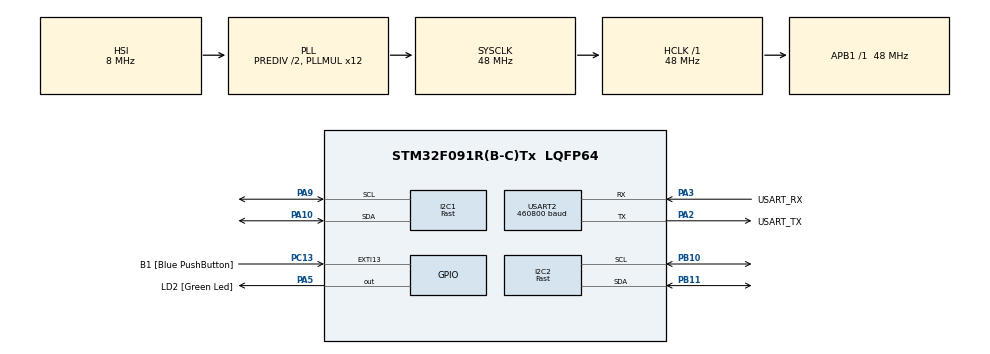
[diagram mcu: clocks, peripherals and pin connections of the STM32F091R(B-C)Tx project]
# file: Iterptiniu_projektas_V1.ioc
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Dma.I2C1_RX.1.Direction=DMA_PERIPH_TO_MEMORY
Dma.I2C1_RX.1.Instance=DMA1_Channel3
Dma.I2C1_RX.1.MemDataAlignment=DMA_MDATAALIGN_BYTE
Dma.I2C1_RX.1.MemInc=DMA_MINC_ENABLE
Dma.I2C1_RX.1.Mode=DMA_NORMAL
Dma.I2C1_RX.1.PeriphDataAlignment=DMA_PDATAALIGN_BYTE
Dma.I2C1_RX.1.PeriphInc=DMA_PINC_DISABLE
Dma.I2C1_RX.1.Priority=DMA_PRIORITY_LOW
Dma.I2C2_RX.0.Direction=DMA_PERIPH_TO_MEMORY
Dma.I2C2_RX.0.Instance=DMA1_Channel5
Dma.I2C2_RX.0.MemDataAlignment=DMA_MDATAALIGN_BYTE
Dma.I2C2_RX.0.MemInc=DMA_MINC_ENABLE
Dma.I2C2_RX.0.Mode=DMA_NORMAL
Dma.I2C2_RX.0.PeriphDataAlignment=DMA_PDATAALIGN_BYTE
Dma.I2C2_RX.0.PeriphInc=DMA_PINC_DISABLE
Dma.I2C2_RX.0.Priority=DMA_PRIORITY_LOW
Dma.Request0=I2C2_RX
Dma.Request1=I2C1_RX
Dma.Request2=USART2_TX
Dma.USART2_TX.2.Direction=DMA_MEMORY_TO_PERIPH
Dma.USART2_TX.2.Instance=DMA1_Channel2
Dma.USART2_TX.2.MemDataAlignment=DMA_MDATAALIGN_BYTE
Dma.USART2_TX.2.MemInc=DMA_MINC_ENABLE
Dma.USART2_TX.2.Mode=DMA_NORMAL
Dma.USART2_TX.2.PeriphDataAlignment=DMA_PDATAALIGN_BYTE
Dma.USART2_TX.2.PeriphInc=DMA_PINC_DISABLE
Dma.USART2_TX.2.Priority=DMA_PRIORITY_LOW
I2C1.I2C_Speed_Mode=I2C_Fast
I2C1.Timing=0x0010020A
I2C2.I2C_Speed_Mode=I2C_Fast
I2C2.Timing=0x2010091A
Mcu.Family=STM32F0
Mcu.Name=STM32F091R(B-C)Tx
Mcu.Package=LQFP64
NVIC.DMA1_Ch2_3_DMA2_Ch1_2_IRQn=true\:0\:0\:false\:false\:true\:false\:true\:true
NVIC.DMA1_Ch4_7_DMA2_Ch3_5_IRQn=true\:0\:0\:false\:false\:true\:false\:true\:true
NVIC.EXTI4_15_IRQn=true\:0\:0\:false\:false\:true\:true\:true\:true
NVIC.I2C1_IRQn=true\:0\:0\:false\:false\:true\:true\:true\:true
NVIC.I2C2_IRQn=true\:0\:0\:false\:false\:true\:true\:true\:true
NVIC.TIM6_DAC_IRQn=true\:0\:0\:false\:false\:true\:true\:true\:true
NVIC.USART2_IRQn=true\:0\:0\:false\:false\:true\:true\:true\:true
PA10.Mode=I2C
PA10.Signal=I2C1_SDA
PA13.GPIO_Label=TMS
PA13.Mode=Serial_Wire
PA13.Signal=SYS_SWDIO
PA14.GPIO_Label=TCK
PA14.Mode=Serial_Wire
PA14.Signal=SYS_SWCLK
PA2.GPIO_Label=USART_TX
PA2.GPIO_Mode=GPIO_MODE_AF_PP
PA2.GPIO_PuPd=GPIO_NOPULL
PA2.GPIO_Speed=GPIO_SPEED_FREQ_LOW
PA2.Mode=Asynchronous
PA2.Signal=USART2_TX
PA3.GPIO_Label=USART_RX
PA3.GPIO_Mode=GPIO_MODE_AF_PP
PA3.GPIO_PuPd=GPIO_NOPULL
PA3.GPIO_Speed=GPIO_SPEED_FREQ_LOW
PA3.Mode=Asynchronous
PA3.Signal=USART2_RX
PA5.GPIO_Label=LD2 [Green Led]
PA5.GPIO_Mode=GPIO_MODE_OUTPUT_PP
PA5.GPIO_PuPd=GPIO_NOPULL
PA5.GPIO_Speed=GPIO_SPEED_FREQ_LOW
PA5.Signal=GPIO_Output
PA9.Mode=I2C
PA9.Signal=I2C1_SCL
PB10.Mode=I2C
PB10.Signal=I2C2_SCL
PB11.Mode=I2C
PB11.Signal=I2C2_SDA
PC13.GPIO_Label=B1 [Blue PushButton]
PC13.GPIO_ModeDefaultEXTI=GPIO_MODE_IT_FALLING
PC13.Signal=GPXTI13
PC14OSC32_IN.Mode=LSE-External-Oscillator
PC14OSC32_IN.Signal=RCC_OSC32_IN
PC15OSC32_OUT.Mode=LSE-External-Oscillator
PC15OSC32_OUT.Signal=RCC_OSC32_OUT
PF0-OSC_IN.Mode=HSE-External-Oscillator
PF0-OSC_IN.Signal=RCC_OSC_IN
PF1-OSC_OUT.Mode=HSE-External-Oscillator
PF1-OSC_OUT.Signal=RCC_OSC_OUT
ProjectManager.HeapSize=0x200
ProjectManager.StackSize=0x400
ProjectManager.TargetToolchain=STM32CubeIDE
RCC.AHBFreq_Value=48000000
RCC.APB1Freq_Value=48000000
RCC.APB1TimFreq_Value=48000000
RCC.FLatency-AdvancedSettings=FLASH_LATENCY_1
RCC.HCLKFreq_Value=48000000
RCC.PLLDivider=RCC_PREDIV_DIV2
RCC.PLLMUL=RCC_PLL_MUL12
RCC.PREFETCH_ENABLE-AdvancedSettings=1
RCC.SYSCLKFreq_VALUE=48000000
RCC.SYSCLKSource=RCC_SYSCLKSOURCE_PLLCLK
TIM6.Period=49
TIM6.Prescaler=47999
TIM7.Period=65535
TIM7.Prescaler=47999
USART2.BaudRate=460800
USART2.VirtualMode=VM_ASYNC
USART2.VirtualMode-Asynchronous=VM_ASYNC
VP_TIM6_VS_ClockSourceINT.Mode=Enable_Timer
VP_TIM7_VS_ClockSourceINT.Mode=Enable_Timer
board=NUCLEO-F091RC

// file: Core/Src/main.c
/* USER CODE BEGIN Header */
/**
  ******************************************************************************
  * @file           : main.c
  * @brief          : Main program body
  ******************************************************************************
  * @attention
  *
  * Copyright (c) 2026 STMicroelectronics.
  * All rights reserved.
  *
  * This software is licensed under terms that can be found in the LICENSE file
  * in the root directory of this software component.
  * If no LICENSE file comes with this software, it is provided AS-IS.
  *
  ******************************************************************************
  */
/* USER CODE END Header */
#include "main.h"

/* USER CODE BEGIN Includes */
#include "fonts.h"
#include "ssd1306.h"
#include "VEML7700_driver.h"
#include "stdio.h"
#include "Statechart.h"
#include "Statechart_required.h"
/* USER CODE END Includes */

/* USER CODE BEGIN PD */
#define DEBOUNCE_MS 100
#define CHANNEL_NUMBER 2
/* USER CODE END PD */

I2C_HandleTypeDef hi2c1;
I2C_HandleTypeDef hi2c2;
DMA_HandleTypeDef hdma_i2c1_rx;
DMA_HandleTypeDef hdma_i2c2_rx;

TIM_HandleTypeDef htim6;
TIM_HandleTypeDef htim7;

UART_HandleTypeDef huart2;
DMA_HandleTypeDef hdma_usart2_tx;

/* USER CODE BEGIN PV */

//Flags for I2C DMA callback
volatile uint8_t i2c_done[2]={0,0};
//For button debounce
volatile uint32_t last_button_time = 0;

static uint8_t  Rx_buffer[2*CHANNEL_NUMBER];          // 2 bytes per channel
static uint16_t value_raw[CHANNEL_NUMBER];
static float    normal_value[CHANNEL_NUMBER];
static float    sum_sensor[CHANNEL_NUMBER];
static float    uart_min[CHANNEL_NUMBER];
static float    uart_max[CHANNEL_NUMBER];
static float 	average_sensor[CHANNEL_NUMBER];
static float 	sum_sensor_oled[CHANNEL_NUMBER];

static I2C_HandleTypeDef *hi2c_ch[CHANNEL_NUMBER] = {&hi2c1, &hi2c2};

float oled_min[CHANNEL_NUMBER];
float oled_max[CHANNEL_NUMBER];

//For debugging
static char msg[200];
volatile int uart_counter=0;

// Current gain tracking (one per channel)
static uint8_t current_gain_step[CHANNEL_NUMBER] = {1, 1};

// Bits, needed to be sent for different gains (gain 1/8x, 1/4x, 1x, 2x)
static const uint16_t gain_steps[] = {VEML7700_GAIN_1_8, VEML7700_GAIN_1_4, VEML7700_GAIN_1,  VEML7700_GAIN_2};

// Bits, needed to be sent for different integration times (25ms and 100ms)
static const uint16_t it_time[] = {VEML7700_IT_25MS,   VEML7700_IT_100MS};

//Lux resolutions for 25ms integration time (gain 1/8x, 1/4x, 1x, 2x)
static const float lux_resolution[CHANNEL_NUMBER][4] = {{2.1504,  1.0752, 0.2688,   0.1344}, {2.1504,  1.0752, 0.2688,   0.1344}};
static const float lux_resolution_100ms[CHANNEL_NUMBER] = {0.0336, 0.0336};

Statechart sc_handle; // Statechart pointer

/* USER CODE END PV */

void SystemClock_Config(void);
static void MX_GPIO_Init(void);
static void MX_DMA_Init(void);
static void MX_I2C1_Init(void);
static void MX_I2C2_Init(void);
static void MX_TIM6_Init(void);
static void MX_USART2_UART_Init(void);
static void MX_TIM7_Init(void);

/* USER CODE BEGIN 0 */

//Functions to describe statechart

//Function to display initial page, waiting for button
void statechart_display_welcome_page( Statechart* handle){
	SSD1306_GotoXY (0, 5); //goto 0, 5
	SSD1306_Puts ("Semestro projektas", &Font_7x10, 1); //put required text

	SSD1306_GotoXY (3,15); // goto 3, 15
	SSD1306_Puts ("Sviesos matuoklis", &Font_7x10, 1); //put required text

	SSD1306_GotoXY (20, 30); // goto 20,30
	SSD1306_Puts ("Konstantinas", &Font_7x10, 1); //put required text

	SSD1306_GotoXY (40, 40); //goto 40, 40
	SSD1306_Puts ("Rimkus", &Font_7x10, 1); //put required text

	SSD1306_GotoXY (37, 50); //goto 37, 50
	SSD1306_Puts ("EEI-3/1", &Font_7x10, 1); //put required text

	SSD1306_UpdateScreen(); // update screen
}

// Function to display current measurement mode, based on user button input
void statechart_display_mode_type( Statechart* handle, const sc_integer mode_type){
	  SSD1306_Clear(); // clear screen
	  switch (mode_type) {
	  	  default: // display normal mode intro screen
	  	  case 0:
	    	    SSD1306_GotoXY (0, 0);//goto 0,0
			    SSD1306_Puts ("Paprastas rezimas", &Font_7x10, 1); // display required text

				SSD1306_GotoXY (0,20); // goto 0, 20
				SSD1306_Puts ("Integravimas: 25ms", &Font_7x10, 1); // display required text

				SSD1306_GotoXY (0, 30); // goto 0, 30
				SSD1306_Puts ("Matavimo per: 40ms", &Font_7x10, 1); // display required text

				SSD1306_GotoXY (0, 40); // goto 0, 40
				SSD1306_Puts ("Stiprinimas: kint.", &Font_7x10, 1); // display required text

				SSD1306_GotoXY (0, 50); // goto 0, 50
				SSD1306_Puts ("(priklauso nuo lx)", &Font_7x10, 1); // display required text

				break;

	      case 1: // display high speed mode intro screen
	    	    SSD1306_GotoXY (0, 0); // goto 0, 0
				SSD1306_Puts ("Velniskas greitis", &Font_7x10, 1); // display required text

				SSD1306_GotoXY (0,20); // goto 0, 20
				SSD1306_Puts ("Integravimas: 25ms", &Font_7x10, 1); // display required text

				SSD1306_GotoXY (0, 30); // goto 0, 30
				SSD1306_Puts ("Matavimo per.:25ms", &Font_7x10, 1); // display required text

				SSD1306_GotoXY (0, 40); // goto 0, 40
				SSD1306_Puts ("Stiprinimas: 0.25", &Font_7x10, 1); // display required text

				break;

	      case 2: //display low light mode intro screen
	    	  	SSD1306_GotoXY (0, 0); // goto 0, 0
				SSD1306_Puts ("Mazas apsvietimas", &Font_7x10, 1); // display required text

				SSD1306_GotoXY (0,20); // goto 0, 20
				SSD1306_Puts ("Integravimas:100ms", &Font_7x10, 1); // display required text

				SSD1306_GotoXY (0, 30); // goto 0, 30
				SSD1306_Puts ("Matavimo per:100ms", &Font_7x10, 1); // display required text

				SSD1306_GotoXY (0, 40); // goto 0, 40
				SSD1306_Puts ("Stiprinimas: 2", &Font_7x10, 1); // display required text
				break;

	  }
	  SSD1306_UpdateScreen(); //update screen
}

//Function to change timer interrupt speed and sensor integration mode
void statechart_change_timer_and_sensor( Statechart* handle, const sc_integer mode_type){
	//Stop timer to prevent glitches
	HAL_TIM_Base_Stop_IT(&htim6);
	//Which the timer preload based on the current mode selected
	    switch (mode_type) {
	        case 0: //Normal mode
			default:
				__HAL_TIM_SET_AUTORELOAD(&htim6, 39); //Set required timer interrupt speed (40ms)
				for(int i=0; i<CHANNEL_NUMBER; i++){
						current_gain_step[i]=1; //Set current sensor gain in program to 1/4 for both channels
						//Set sensor gain to 1/4 and integration time to 25ms for both sensors
						VEML7700_Set_Gain(hi2c_ch[i], gain_steps[current_gain_step[i]], it_time[0]);
					  }
				break;

	        case 1: // High speed mode
	            __HAL_TIM_SET_AUTORELOAD(&htim6, 24); //Set timer overload to 25ms
	            for(int i=0; i<CHANNEL_NUMBER; i++){
						current_gain_step[i]=1;//Set current sensor gain in program to 1/4 for both channels
						//Set sensor gain to 1/4 and integration time to 25ms for both sensors
						VEML7700_Set_Gain(hi2c_ch[i], gain_steps[current_gain_step[i]], it_time[0]);
					  }
	            break;

	        case 2: // Low light mode
	            __HAL_TIM_SET_AUTORELOAD(&htim6, 99); //Set timer overload to 100ms
	            for(int i=0; i<CHANNEL_NUMBER; i++){
						current_gain_step[i]=3;//Set current sensor gain in program to 2 for both channels
						//Set sensor gain to 2 and integration time to 100ms for both sensors
						VEML7700_Set_Gain(hi2c_ch[i], gain_steps[current_gain_step[i]], it_time[1]);
					  }
	            break;
	    }

	    __HAL_TIM_SET_COUNTER(&htim6, 0); //Set timer counter to 0 (reset timer)
	    __HAL_TIM_CLEAR_FLAG(&htim6, TIM_FLAG_UPDATE); //Clear IT flag
	    TIM6->EGR = TIM_EGR_UG; //Update the cleared flag
	    HAL_TIM_Base_Start_IT(&htim6); //And finally start the timer, when it is configured
 }

//Function to set UART sum (sum of samples) to zero
void statechart_zero_uart_sum( Statechart* handle){
	for(int i=0; i<CHANNEL_NUMBER; i++){
			sum_sensor[i]=0; //Set sensor sum data of UART refresh to zero
	}
}

//Function to set OLED sum (sum of iterrations) to zero
void statechart_zero_oled_sum( Statechart* handle){
	for(int i=0; i<CHANNEL_NUMBER; i++){
			  sum_sensor_oled[i]=0; //Set sensor sum data of OLED refresh to zero
	}
}

//Function to read both sensors in I2C DMA (gain and integration time was set before)
void statechart_read_i2c_sensors( Statechart* handle){
	for (int i= 0; i< CHANNEL_NUMBER; i++) {
	//Save all 4 bytes to same RX buffer (2 bytes per channel)
	 HAL_I2C_Mem_Read_DMA(hi2c_ch[i], VEML7700_ADDR, VEML7700_REG_ALS, I2C_MEMADD_SIZE_8BIT, &Rx_buffer[i*2], 2);
	}
}

//Function to process raw I2C sample data
void statechart_process_i2c_samples( Statechart* handle, const sc_integer sample_no, const sc_integer mode_type){
	 for (int i= 0; i< CHANNEL_NUMBER; i++) {
	     value_raw[i] = Rx_buffer[i* 2] | (Rx_buffer[i* 2 + 1] << 8); //Save raw sample data
	     if(mode_type==2){ //If measuring mode is "Low light"
	    	 normal_value[i] = value_raw[i] * lux_resolution_100ms[i]; //Convert to lux based on convertion table for 100ms (gain of 2)
	     }
	     else {
	    	 //Convert to lux based on 25ms integration and current gain value
	    	 normal_value[i] = value_raw[i] *  lux_resolution[i][current_gain_step[i]];
	     }
	     //If we have lux value above 1000
	     if(normal_value[i]>1000.0f){
	    	 float x = normal_value[i];
	    	 //Apply correction formula from datasheet
	    	 normal_value[i] = (VEML7700_COEF_A * x*x*x*x)
	    	                  + (VEML7700_COEF_B * x*x*x)
	    	                  + (VEML7700_COEF_C * x*x)
	    	                  + (VEML7700_COEF_D * x);
	    	 HAL_GPIO_WritePin(LD2_GPIO_Port, LD2_Pin, 1); //Set test LED high to indicate correction
	     }

	     if (mode_type==0) { //If measuring in "Normal mode"
	    	 uint8_t new_step;
	    	 float lux = normal_value[i];
	    	 	 //Based on the current lux value, set the gain for better measurement precision
	    	     if (lux < 25.0f) {
	    	         new_step = 3;  // New gain is 2, maximum precision
	    	     } else if (lux < 100.0f) {
	    	         new_step = 2;  // New gain is 1, slightly worse precision
	    	     } else if (lux < 10000.0f) {
	    	         new_step = 1;  // New gain is 1/4, more linear measurement
	    	     } else {
	    	         new_step = 0;  // New gain is 1/8, highest possible maximum value (to not max out readings)
	    	     }

	    	     // Write to sensor for gain change if new gain is different from previous
	    	     if (new_step != current_gain_step[i]) {
	    	         current_gain_step[i] = new_step; //Change current gain value
	    	         VEML7700_Set_Gain(hi2c_ch[i], gain_steps[current_gain_step[i]], it_time[0]); //Send new gain to sensor
	    	     }
	     	}
	     //Increase the sum by current value (for average calculation)
	     sum_sensor[i] = sum_sensor[i] + normal_value[i];

	     //If sample is first in iterration
	     if (sample_no == 0) {
	         uart_min[i] = uart_max[i] = normal_value[i]; //It sets both min and max
	     } else if (normal_value[i] < uart_min[i]) { //If it is less than current min
	         uart_min[i] = normal_value[i]; //Becomes new min
	     } else if (normal_value[i] > uart_max[i]) { //If it more than current max
	         uart_max[i] = normal_value[i]; //Becomes new max
	     }
	 }
}

//Function to send the required data over UART to PC
void statechart_send_data_uart(Statechart* handle){
	//Local variables
	int len = 0;
	int precision[2];
	len += snprintf(msg + len,sizeof(msg) - len, "\r\n");

	//For loop to loop over both channels
	for (int i = 0; i < CHANNEL_NUMBER; i++)
	{
		//Select the required precision based on current gain
		switch (current_gain_step[i]) {
			default:
			case 0:
				precision[i] = 0;
				break;

			case 1:
				precision[i] = 2;
				break;

			case 2:
				precision[i] = 3;
				break;

			case 3:
				precision[i] = 4;
				break;
		}
		//Format the UART message from the data and precision values

		len += snprintf(msg + len,sizeof(msg) - len,"Ch%d: %.*f\r\nMin: %.*f\r\nMax: %.*f\r\n",
			i + 1, precision[i], average_sensor[i], precision[i], uart_min[i], precision[i], uart_max[i]);
	}

	//Transmit the formated message over UART with DMA
	HAL_UART_Transmit_DMA(&huart2, (uint8_t*)msg, len);
	HAL_GPIO_WritePin(LD2_GPIO_Port, LD2_Pin, 0); //Reset the test LED
}

//Function to display required data on OLED display
void statechart_send_data_oled( Statechart* handle){
	 float average_oled[2];
	 char ch_value[2][50];
	 char ch_min[2][50];
	 char ch_max[2][50];
	 int precision[2];
	 SSD1306_DrawFilledRectangle(35, 0, 75, 63, 0); //Block out old data
	 //Set for loop to format both channels
	 for (int i=0; i<CHANNEL_NUMBER; i++){
		 average_oled[i]=sum_sensor_oled[i]/10.0f;

		 //Change the displayed precision based on current gain value
		 switch (current_gain_step[i]) {
		 	 	 default:
		 	 	 case 0:
		 	 	 	 precision[i]=0;
		 	 		 break;

		 	 	case 1:
					 precision[i]=2;
					 break;

		 	 	 case 2:
					 precision[i]=3;
					 break;

				case 3:
					 precision[i]=4;
					 break;
		 }
		 //Format the required data with sprintf
		 sprintf(ch_value[i], "%.*f", precision[i], average_oled[i]);
		 sprintf(ch_min[i],   "%.*f", precision[i], oled_min[i]);
		 sprintf(ch_max[i],   "%.*f", precision[i], oled_max[i]);

		 SSD1306_GotoXY (35,0+33*i); // Go to 35, and 0 or 33
		 SSD1306_Puts (ch_value[i], &Font_7x10, 1); // print average value:

		 SSD1306_GotoXY (35, 10+33*i); // Go to 35, and 10 or 43
		 SSD1306_Puts (ch_min[i], &Font_7x10, 1); // print min value

		 SSD1306_GotoXY (35, 20+33*i); //Go to 35 and 20 or 53
		 SSD1306_Puts (ch_max[i], &Font_7x10, 1); // print max value
	 }
	 SSD1306_UpdateScreen(); //Update the screen
}

//Function to process data for OLED
void statechart_process_data_oled( Statechart* handle, const sc_integer required_sample_no, const sc_integer iterration_number){
	//For loop to check both channels
	for (int i= 0; i<CHANNEL_NUMBER; i++) {
	     //Calculate average value, based number of samples from the sum
		 average_sensor[i] = sum_sensor[i] / (float)required_sample_no;
	     //Add it to OLED sum
		 sum_sensor_oled[i] = sum_sensor_oled[i] + average_sensor[i];

		 //Check min max values
		 //If we have first iteration, oled_min is min, oled_max is max
		 if (iterration_number == 0) {
		     oled_min[i] = uart_min[i];
		     oled_max[i] = uart_max[i];
		 }
		 //If not first iteration, check if new min/max is smaller/bigger than current min/max
		 else {
		     if (uart_min[i] < oled_min[i]) {
		         oled_min[i] = uart_min[i];
		     }

		     if (uart_max[i] > oled_max[i]) {
		         oled_max[i] = uart_max[i];
		     }
		 }
	 }
}

//Function to display the screen while waiting for measurements/start timers
void statechart_start_program( Statechart* handle){
	//Heavy blocking write operations, stop timer before
	HAL_TIM_Base_Stop_IT(&htim6);

	SSD1306_Clear(); // Clear screen
	 //For loop to loop over both channels
	 for (int i = 0; i < CHANNEL_NUMBER; i++)
	 {
	     char ch_label[20];
	     //Format current channel number
	     sprintf(ch_label, "Ch%d:  -------  lx", i + 1);

	     SSD1306_GotoXY(5, 0+i*33); //Go to the required position, based on channel number
	     SSD1306_Puts(ch_label, &Font_7x10, 1); //Place text

	     SSD1306_GotoXY(5, 10+i*33); //Go to the required position, based on channel number
	     SSD1306_Puts("Min:  -------  lx", &Font_7x10, 1); //Place text

	     SSD1306_GotoXY(5, 20+i*33); //Go to the required position, based on channel number
	     SSD1306_Puts("Max:  -------  lx", &Font_7x10, 1); //Place text
	 }
	 SSD1306_UpdateScreen(); // update screen
	 __HAL_TIM_SET_COUNTER(&htim6, 0); //Reset counter (should be reset to 0 anyways, but good practice after update)
	 HAL_TIM_Base_Start_IT(&htim6); //Restart counter after writing is done
}
/* USER CODE END 0 */

int main(void)
{

  /* MCU Configuration--------------------------------------------------------*/

  /* Reset of all peripherals, Initializes the Flash interface and the Systick. */
  HAL_Init();

  /* Configure the system clock */
  SystemClock_Config();

  /* Initialize all configured peripherals */
  MX_GPIO_Init();
  MX_DMA_Init();
  MX_I2C1_Init();
  MX_I2C2_Init();
  MX_TIM6_Init();
  MX_USART2_UART_Init();
  MX_TIM7_Init();
  /* USER CODE BEGIN 2 */

  //For debugging

  SSD1306_Init (); // initialise the display

  statechart_init(&sc_handle); //Inicializuoti būtenų automatą
  statechart_enter(&sc_handle); //Pradėti vykdyti būsenų automatą

  /* USER CODE END 2 */

  /* Infinite loop */
  while (1)
  {

    /* USER CODE BEGIN 3 */
  }
  statechart_exit(&sc_handle);
  /* USER CODE END 3 */
}

void SystemClock_Config(void)
{
  RCC_OscInitTypeDef RCC_OscInitStruct = {0};
  RCC_ClkInitTypeDef RCC_ClkInitStruct = {0};
  RCC_PeriphCLKInitTypeDef PeriphClkInit = {0};

  /** Initializes the RCC Oscillators according to the specified parameters
  * in the RCC_OscInitTypeDef structure.
  */
  RCC_OscInitStruct.OscillatorType = RCC_OSCILLATORTYPE_HSI;
  RCC_OscInitStruct.HSIState = RCC_HSI_ON;
  RCC_OscInitStruct.HSICalibrationValue = RCC_HSICALIBRATION_DEFAULT;
  RCC_OscInitStruct.PLL.PLLState = RCC_PLL_ON;
  RCC_OscInitStruct.PLL.PLLSource = RCC_PLLSOURCE_HSI;
  RCC_OscInitStruct.PLL.PLLMUL = RCC_PLL_MUL12;
  RCC_OscInitStruct.PLL.PREDIV = RCC_PREDIV_DIV2;
  if (HAL_RCC_OscConfig(&RCC_OscInitStruct) != HAL_OK)
  {
    Error_Handler();
  }

  /** Initializes the CPU, AHB and APB buses clocks
  */
  RCC_ClkInitStruct.ClockType = RCC_CLOCKTYPE_HCLK|RCC_CLOCKTYPE_SYSCLK
                              |RCC_CLOCKTYPE_PCLK1;
  RCC_ClkInitStruct.SYSCLKSource = RCC_SYSCLKSOURCE_PLLCLK;
  RCC_ClkInitStruct.AHBCLKDivider = RCC_SYSCLK_DIV1;
  RCC_ClkInitStruct.APB1CLKDivider = RCC_HCLK_DIV1;

  if (HAL_RCC_ClockConfig(&RCC_ClkInitStruct, FLASH_LATENCY_1) != HAL_OK)
  {
    Error_Handler();
  }
  PeriphClkInit.PeriphClockSelection = RCC_PERIPHCLK_USART2|RCC_PERIPHCLK_I2C1;
  PeriphClkInit.Usart2ClockSelection = RCC_USART2CLKSOURCE_PCLK1;
  PeriphClkInit.I2c1ClockSelection = RCC_I2C1CLKSOURCE_HSI;
  if (HAL_RCCEx_PeriphCLKConfig(&PeriphClkInit) != HAL_OK)
  {
    Error_Handler();
  }
}

static void MX_I2C1_Init(void)
{

  hi2c1.Instance = I2C1;
  hi2c1.Init.Timing = 0x0010020A;
  hi2c1.Init.OwnAddress1 = 0;
  hi2c1.Init.AddressingMode = I2C_ADDRESSINGMODE_7BIT;
  hi2c1.Init.DualAddressMode = I2C_DUALADDRESS_DISABLE;
  hi2c1.Init.OwnAddress2 = 0;
  hi2c1.Init.OwnAddress2Masks = I2C_OA2_NOMASK;
  hi2c1.Init.GeneralCallMode = I2C_GENERALCALL_DISABLE;
  hi2c1.Init.NoStretchMode = I2C_NOSTRETCH_DISABLE;
  if (HAL_I2C_Init(&hi2c1) != HAL_OK)
  {
    Error_Handler();
  }

  /** Configure Analogue filter
  */
  if (HAL_I2CEx_ConfigAnalogFilter(&hi2c1, I2C_ANALOGFILTER_ENABLE) != HAL_OK)
  {
    Error_Handler();
  }

  /** Configure Digital filter
  */
  if (HAL_I2CEx_ConfigDigitalFilter(&hi2c1, 0) != HAL_OK)
  {
    Error_Handler();
  }

}

static void MX_I2C2_Init(void)
{

  hi2c2.Instance = I2C2;
  hi2c2.Init.Timing = 0x2010091A;
  hi2c2.Init.OwnAddress1 = 0;
  hi2c2.Init.AddressingMode = I2C_ADDRESSINGMODE_7BIT;
  hi2c2.Init.DualAddressMode = I2C_DUALADDRESS_DISABLE;
  hi2c2.Init.OwnAddress2 = 0;
  hi2c2.Init.OwnAddress2Masks = I2C_OA2_NOMASK;
  hi2c2.Init.GeneralCallMode = I2C_GENERALCALL_DISABLE;
  hi2c2.Init.NoStretchMode = I2C_NOSTRETCH_DISABLE;
  if (HAL_I2C_Init(&hi2c2) != HAL_OK)
  {
    Error_Handler();
  }

  /** Configure Analogue filter
  */
  if (HAL_I2CEx_ConfigAnalogFilter(&hi2c2, I2C_ANALOGFILTER_ENABLE) != HAL_OK)
  {
    Error_Handler();
  }

  /** Configure Digital filter
  */
  if (HAL_I2CEx_ConfigDigitalFilter(&hi2c2, 0) != HAL_OK)
  {
    Error_Handler();
  }

}

static void MX_TIM6_Init(void)
{

  TIM_MasterConfigTypeDef sMasterConfig = {0};

  htim6.Instance = TIM6;
  htim6.Init.Prescaler = 47999;
  htim6.Init.CounterMode = TIM_COUNTERMODE_UP;
  htim6.Init.Period = 49;
  htim6.Init.AutoReloadPreload = TIM_AUTORELOAD_PRELOAD_DISABLE;
  if (HAL_TIM_Base_Init(&htim6) != HAL_OK)
  {
    Error_Handler();
  }
  sMasterConfig.MasterOutputTrigger = TIM_TRGO_RESET;
  sMasterConfig.MasterSlaveMode = TIM_MASTERSLAVEMODE_DISABLE;
  if (HAL_TIMEx_MasterConfigSynchronization(&htim6, &sMasterConfig) != HAL_OK)
  {
    Error_Handler();
  }

}

static void MX_TIM7_Init(void)
{

  TIM_MasterConfigTypeDef sMasterConfig = {0};

  htim7.Instance = TIM7;
  htim7.Init.Prescaler = 47999;
  htim7.Init.CounterMode = TIM_COUNTERMODE_UP;
  htim7.Init.Period = 65535;
  htim7.Init.AutoReloadPreload = TIM_AUTORELOAD_PRELOAD_DISABLE;
  if (HAL_TIM_Base_Init(&htim7) != HAL_OK)
  {
    Error_Handler();
  }
  sMasterConfig.MasterOutputTrigger = TIM_TRGO_RESET;
  sMasterConfig.MasterSlaveMode = TIM_MASTERSLAVEMODE_DISABLE;
  if (HAL_TIMEx_MasterConfigSynchronization(&htim7, &sMasterConfig) != HAL_OK)
  {
    Error_Handler();
  }

}

static void MX_USART2_UART_Init(void)
{

  huart2.Instance = USART2;
  huart2.Init.BaudRate = 460800;
  huart2.Init.WordLength = UART_WORDLENGTH_8B;
  huart2.Init.StopBits = UART_STOPBITS_1;
  huart2.Init.Parity = UART_PARITY_NONE;
  huart2.Init.Mode = UART_MODE_TX_RX;
  huart2.Init.HwFlowCtl = UART_HWCONTROL_NONE;
  huart2.Init.OverSampling = UART_OVERSAMPLING_16;
  huart2.Init.OneBitSampling = UART_ONE_BIT_SAMPLE_DISABLE;
  huart2.AdvancedInit.AdvFeatureInit = UART_ADVFEATURE_NO_INIT;
  if (HAL_UART_Init(&huart2) != HAL_OK)
  {
    Error_Handler();
  }

}

static void MX_DMA_Init(void)
{

  /* DMA controller clock enable */
  __HAL_RCC_DMA1_CLK_ENABLE();

  /* DMA interrupt init */
  /* DMA1_Ch2_3_DMA2_Ch1_2_IRQn interrupt configuration */
  HAL_NVIC_SetPriority(DMA1_Ch2_3_DMA2_Ch1_2_IRQn, 0, 0);
  HAL_NVIC_EnableIRQ(DMA1_Ch2_3_DMA2_Ch1_2_IRQn);
  /* DMA1_Ch4_7_DMA2_Ch3_5_IRQn interrupt configuration */
  HAL_NVIC_SetPriority(DMA1_Ch4_7_DMA2_Ch3_5_IRQn, 0, 0);
  HAL_NVIC_EnableIRQ(DMA1_Ch4_7_DMA2_Ch3_5_IRQn);

}

static void MX_GPIO_Init(void)
{
  GPIO_InitTypeDef GPIO_InitStruct = {0};

  /* GPIO Ports Clock Enable */
  __HAL_RCC_GPIOC_CLK_ENABLE();
  __HAL_RCC_GPIOF_CLK_ENABLE();
  __HAL_RCC_GPIOA_CLK_ENABLE();
  __HAL_RCC_GPIOB_CLK_ENABLE();

  /*Configure GPIO pin Output Level */
  HAL_GPIO_WritePin(LD2_GPIO_Port, LD2_Pin, GPIO_PIN_RESET);

  /*Configure GPIO pin : B1_Pin */
  GPIO_InitStruct.Pin = B1_Pin;
  GPIO_InitStruct.Mode = GPIO_MODE_IT_FALLING;
  GPIO_InitStruct.Pull = GPIO_NOPULL;
  HAL_GPIO_Init(B1_GPIO_Port, &GPIO_InitStruct);

  /*Configure GPIO pin : LD2_Pin */
  GPIO_InitStruct.Pin = LD2_Pin;
  GPIO_InitStruct.Mode = GPIO_MODE_OUTPUT_PP;
  GPIO_InitStruct.Pull = GPIO_NOPULL;
  GPIO_InitStruct.Speed = GPIO_SPEED_FREQ_LOW;
  HAL_GPIO_Init(LD2_GPIO_Port, &GPIO_InitStruct);

  /* EXTI interrupt init*/
  HAL_NVIC_SetPriority(EXTI4_15_IRQn, 0, 0);
  HAL_NVIC_EnableIRQ(EXTI4_15_IRQn);

}

/* USER CODE BEGIN 4 */

//I2C DMA CALLBACK
void HAL_I2C_MemRxCpltCallback(I2C_HandleTypeDef *hi2c) {
	if (hi2c->Instance == I2C1) {
	    i2c_done[0]=1; //If channel 1 done, set flag
	}
	if (hi2c->Instance == I2C2) {
        i2c_done[1]=1; //If channel 2 done, set flag
	}
    if (i2c_done[0]==1 && i2c_done[1]==1) {
		//If both channels done, reset flags
    	i2c_done[0]=i2c_done[1]=0;
    	//Raise I2C callback event in statechart
    	statechart_raise_i2c_callback_sensors(&sc_handle);
    }
}

//TIM6 reload callback
void HAL_TIM_PeriodElapsedCallback(TIM_HandleTypeDef *htim) {
    if (htim->Instance == TIM6) {
    	uart_counter++;
    	//Raise timer interrupt event in statechart
    	statechart_raise_timer_interrupt(&sc_handle);
    }
}

//Button external interrupt
void HAL_GPIO_EXTI_Callback(uint16_t GPIO_Pin) {
    if (GPIO_Pin == B1_Pin) { //If user button pin
		uint32_t now = HAL_GetTick(); // Variable to get current time

		//If time elapsed since last interrupt more than DEBOUNCE_MS
		if (now - last_button_time > DEBOUNCE_MS) {
			last_button_time = now;//Update last time
			statechart_raise_user_button(&sc_handle); //Raise user_button event in statechart
		}
    }
}
/* USER CODE END 4 */

void Error_Handler(void)
{
  __disable_irq();
  while (1)
  {
  }
}
